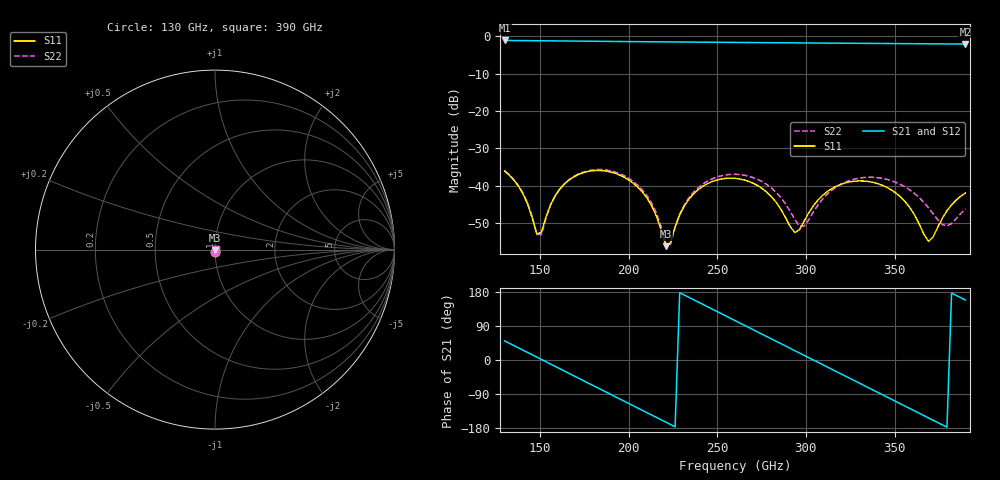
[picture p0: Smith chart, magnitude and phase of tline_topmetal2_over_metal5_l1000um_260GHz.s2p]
#  GHZ S DB R 50
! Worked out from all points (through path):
!   101 points, 130 GHz to 390 GHz, reference 50 ohm
!   highest |S21| = -1.09 dB at 130 GHz (marker M1); lowest = -2.0 dB at 390 GHz (marker M2)
!   group delay of S21, straight-line fit = 6.54 ps
!   lowest |S11| = -56.1 dB at 221 GHz (marker M3), VSWR 1.00, Z = 50.1 - j0.143 ohm
!   |S11| at or under -10 dB: start of sweep to end of sweep
!   |S22| runs from -55.6 to -35.6 dB; largest |S21 - S12| = 1.5e-13
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130  -36.01 -90.1  -1.09 50.5  -1.09 50.5  -35.97 -91.0
140.4  -42.14 -105.9  -1.13 25.9  -1.13 25.9  -42.01 -107.6
148.2  -52.89 -73.7  -1.16 7.5  -1.16 7.5  -53.06 -78.7
150.8  -52.44 -24.9  -1.17 1.4  -1.17 1.4  -52.99 -26.7
161.2  -40.83 -2.4  -1.22 -23.2  -1.22 -23.2  -40.83 -2.9
174.2  -36.50 -27.1  -1.28 -53.9  -1.28 -53.9  -36.34 -28.1
187.2  -36.04 -55.3  -1.33 -84.5  -1.33 -84.5  -35.75 -56.8
202.8  -39.38 -87.7  -1.40 -121.3  -1.40 -121.3  -38.90 -90.0
218.4  -51.95 -95.0  -1.46 -158.0  -1.46 -158.0  -51.05 -101.2
221  -56.15 -66.7  -1.47 -164.1  -1.47 -164.1  -55.60 -77.1
223.6  -55.19 -18.9  -1.48 -170.2  -1.48 -170.2  -55.61 -25.8
236.6  -42.15 -2.4  -1.53 159.2  -1.53 159.2  -41.69 -4.6
260  -38.00 -54.9  -1.61 104.1  -1.61 104.1  -36.91 -57.9
278.2  -41.81 -106.2  -1.68 61.2  -1.68 61.2  -39.74 -108.5
293.8  -52.51 147.5  -1.74 24.5  -1.74 24.5  -49.03 175.1
299  -49.48 83.1  -1.76 12.3  -1.76 12.3  -50.78 110.2
304.2  -45.35 51.2  -1.77 0.1  -1.77 0.1  -47.01 59.7
327.6  -38.75 -24.2  -1.85 -55.0  -1.85 -55.0  -38.17 -28.2
348.4  -41.14 -83.3  -1.91 -103.9  -1.91 -103.9  -38.65 -89.1
369.2  -54.82 148.7  -1.98 -152.8  -1.98 -152.8  -45.88 -167.1
379.6  -46.66 48.4  -2.02 -177.3  -2.02 -177.3  -50.75 105.0
390  -41.92 9.5  -2.05 158.3  -2.05 158.3  -46.13 24.1
